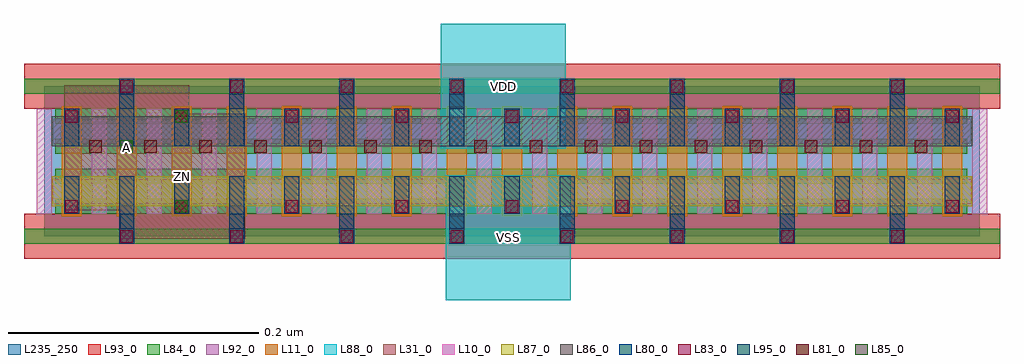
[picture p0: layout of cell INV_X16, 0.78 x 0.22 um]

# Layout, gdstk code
import gdstk
lib = gdstk.Library(unit=1e-6, precision=1e-09)
def R(c, l, rs):  # rectangles x0, y0, x1, y1
    for r in rs: c.add(gdstk.rectangle(r[:2], r[2:], *l))
def A(c, l, x, y, w, h, nx, ny, dx, dy):  # array of equal rectangles
    R(c, l, [(x+i*dx, y+j*dy, x+i*dx+w, y+j*dy+h) for i in range(nx) for j in range(ny)])
L10_0 = (10, 0)
L11_0 = (11, 0)
L31_0 = (31, 0)
L80_0 = (80, 0)
L81_0 = (81, 0)
L83_0 = (83, 0)
L84_0 = (84, 0)
L85_0 = (85, 0)
L86_0 = (86, 0)
L87_0 = (87, 0)
L88_0 = (88, 0)
L92_0 = (92, 0)
L93_0 = (93, 0)
L95_0 = (95, 0)
L235_250 = (235, 250)

inv_x16 = lib.new_cell('INV_X16')
A(inv_x16, L10_0, -0.006, 0.018, 0.012, 0.084, 18, 1, 0.044, 0)
A(inv_x16, L11_0, 0.014, 0.016, 0.016, 0.088, 17, 1, 0.044, 0)
R(inv_x16, L31_0, [(0.061,-0.002,0.161,0.098), (0.016,0.021,0.116,0.121)])
A(inv_x16, L80_0, 0.06, -0.006, 0.012, 0.054, 8, 2, 0.088, 0.078)
A(inv_x16, L80_0, 0.016, 0.018, 0.012, 0.03, 9, 2, 0.088, 0.054)
A(inv_x16, L81_0, 0.036, 0.067, 0.01, 0.01, 16, 1, 0.044, 0)
A(inv_x16, L83_0, 0.061, -0.005, 0.01, 0.01, 8, 2, 0.088, 0.12)
A(inv_x16, L83_0, 0.017, 0.019, 0.01, 0.01, 9, 2, 0.088, 0.072)
A(inv_x16, L84_0, 0.009, 0.018, 0.729, 0.012, 1, 4, 0, 0.024)
R(inv_x16, L84_0, [(-0.016,-0.006,0.764,0.006), (-0.016,0.114,0.764,0.126)])
R(inv_x16, L85_0, [(0.105,0.019,0.115,0.029), (0.061,0.067,0.071,0.077), (0.105,0.091,0.115,0.101)])
R(inv_x16, L86_0, [(0.006,0.072,0.742,0.096)])
R(inv_x16, L87_0, [(0.006,0.024,0.742,0.048)])
R(inv_x16, L88_0, [(0.321,-0.051,0.421,0.049), (0.317,0.07,0.417,0.17)])
R(inv_x16, L92_0, [(0.007,0.026,0.741,0.046), (0.007,0.074,0.741,0.094)])
R(inv_x16, L93_0, [(-0.016,-0.018,0.764,0.018), (-0.016,0.102,0.764,0.138)])
A(inv_x16, L95_0, 0.06, 0.006, 0.012, 0.012, 8, 2, 0.088, 0.096)
R(inv_x16, L235_250, [(0,0,0.748,0.12)])
inv_x16.add(gdstk.Label('VDD', (0.367,0.12), layer=88, texttype=0))
inv_x16.add(gdstk.Label('VSS', (0.371,-0.001), layer=88, texttype=0))
inv_x16.add(gdstk.Label('A', (0.066,0.071), layer=31, texttype=0))
inv_x16.add(gdstk.Label('ZN', (0.111,0.048), layer=31, texttype=0))

lib.write_gds('INV_X16.gds')
